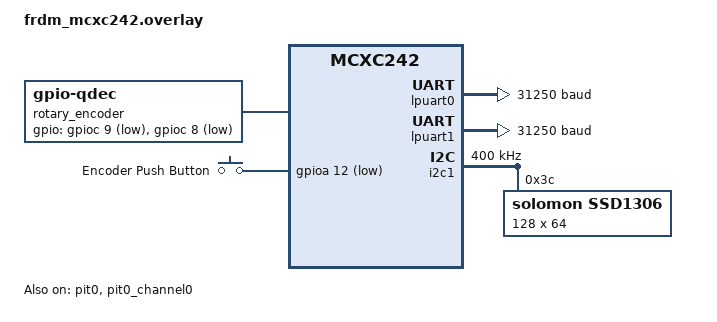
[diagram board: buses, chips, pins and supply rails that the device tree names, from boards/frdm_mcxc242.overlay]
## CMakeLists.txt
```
# SPDX-License-Identifier: Apache-2.0

cmake_minimum_required(VERSION 3.20.0)
find_package(Zephyr REQUIRED HINTS $ENV{ZEPHYR_BASE})
project(midi1_arp_phase_shift)

target_sources(app PRIVATE
    src/main.c
    src/arp.c
    src/tempo.c
    src/display_mgr.c
    src/encoder_mgr.c
)
```

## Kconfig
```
# SPDX-License-Identifier: Apache-2.0

menu "MIDI 1.0 ARP sample"

config MIDI1_ARP_NUMBER_OF_NOTES
    int "ARP number of NOTES to support"
    default 10
    range 1 32
    
config MIDI1_ARP_TIMING_INTERVAL
    int "TIMING_INTERVAL"
    default 6
    range 1 128
    
config MIDI1_ARP_TARGET_BPM
    int "Default ARP beats per minute (BPM) * 100 (i.e. 120 bpm is 12000)"
    default 10000
    range 1 60000

config MIDI1_ARP_DRIFT_CYCLE
    int "Number of MIDI clock ticks to drift" 
    default 8
    range 1 96

config MIDI1_ARP_TEMPO_MINIMUM 
    int "Minimum tempo using the ADC pot input default is 30.00 bpm (3000)" 
    default 3000 
    range 100 30000

config MIDI1_ARP_TEMPO_MAXIMUM 
    int "Maximum tempo using the ADC pot input default is 300.00 bpm (30000)" 
    default 30000 
    range 100 30000

endmenu

source "Kconfig.zephyr"
```

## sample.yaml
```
# SPDX-License-Identifier: Apache-2.0

sample:
  name: MIDI 1.0 Phasing Arpeggiator Demo
tests:
  sample.midi1_arp_phase_shift:
    platform_allow:
      - frdm_k64f
      - frdm_mcxc242
    harness: console
    harness_config:
      type: one_line
      regex:
        - "Arpeggiator running"
```

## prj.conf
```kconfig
# SPDX-License-Identifier: Apache-2.0

# MIDI 1.0 Arpeggiator Application
CONFIG_LOG=y
CONFIG_LOG_DEFAULT_LEVEL=1
CONFIG_BOOT_BANNER=y

# Driver support
CONFIG_SERIAL=y
CONFIG_UART_INTERRUPT_DRIVEN=y
CONFIG_MIDI1_SERIAL=y
CONFIG_MIDI1_CLOCK_CNTR=y
CONFIG_MIDI1_HARMONIC=y
CONFIG_COUNTER=y
CONFIG_INPUT=y
CONFIG_INPUT_GPIO_QDEC=y

# Require larger buffers for handling inputs and outputs concurrently
CONFIG_MIDI1_SERIAL_TX_BUF_SIZE=128

# Footprint settings
CONFIG_IDLE_STACK_SIZE=256
CONFIG_ISR_STACK_SIZE=1024
CONFIG_MAIN_STACK_SIZE=2048
CONFIG_SYSTEM_WORKQUEUE_STACK_SIZE=2048
```

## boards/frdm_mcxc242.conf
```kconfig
# SPDX-License-Identifier: Apache-2.0

# Display support for SSD1306 on MCXC242
CONFIG_I2C=y
CONFIG_DISPLAY=y
CONFIG_SSD1306=y
CONFIG_DISPLAY_LOG_LEVEL_OFF=y

# Enable Character Framebuffer (text rendering)
CONFIG_CHARACTER_FRAMEBUFFER=y
CONFIG_CHARACTER_FRAMEBUFFER_USE_DEFAULT_FONTS=y

# Memory pool for display allocation (fixes CFB k_malloc error)
CONFIG_HEAP_MEM_POOL_SIZE=1024

# --- Memory & Size Optimizations for MCXC242 (16KB RAM) ---
CONFIG_SIZE_OPTIMIZATIONS=y
CONFIG_SPI=n
CONFIG_PM=n
CONFIG_BOOT_BANNER=n

# Disable full logging and printk to save RAM buffers and flash
CONFIG_LOG=n
CONFIG_PRINTK=n

# Opt for minimal libc footprint
CONFIG_MINIMAL_LIBC=y

# Stack Size Reductions
CONFIG_ISR_STACK_SIZE=512
CONFIG_MAIN_STACK_SIZE=1024
CONFIG_SYSTEM_WORKQUEUE_STACK_SIZE=1024
```

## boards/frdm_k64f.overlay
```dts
/*
 * SPDX-License-Identifier: Apache-2.0
 */

/**
 * @file frdm_k64f.overlay
 * @brief Combined overlay for hybrid MIDI test on K64F
 */

#include <zephyr/dt-bindings/input/input-event-codes.h>
#include <zephyr/dt-bindings/gpio/arduino-header-r3.h>

/ {
	midi1: midi1 {
		status = "okay";
		compatible = "midi1_serial";
		uart = <&uart3>;
	};

	midi1_clock_cntr_0: midi1_clock_cntr_0 {
		compatible = "midi1_clock_cntr";
		counter = <&pit0_channel0>;
		midi1_serial = <&midi1>;
		status = "okay";
	};

	rotary_encoder: rotary-encoder {
		compatible = "gpio-qdec";
		gpios = <&arduino_header 12 (GPIO_ACTIVE_LOW | GPIO_PULL_UP)>, /* D6 */
			<&arduino_header 13 (GPIO_ACTIVE_LOW | GPIO_PULL_UP)>; /* D7 */
		steps-per-period = <4>;
		zephyr,axis = <INPUT_REL_WHEEL>;
		sample-time-us = <2000>;
		idle-timeout-ms = <200>;
		status = "okay";
	};

	encoder_button: encoder-button {
		compatible = "gpio-keys";
		button0: button_0 {
			gpios = <&arduino_header 8 (GPIO_ACTIVE_LOW | GPIO_PULL_UP)>; /* D2 */
			label = "Encoder Push Button";
			zephyr,code = <INPUT_KEY_2>;
                };

                button1: button_1 {
                        gpios = <&arduino_header 16 (GPIO_ACTIVE_LOW | GPIO_PULL_UP)>; /* D10 */
                        label = "BPM Shift Button";
                        zephyr,code = <INPUT_KEY_3>;		};
	};
};

&uart3 {
	status = "okay";
	current-speed = <31250>;
};

&pit0 {
	status = "okay";
};

&pit0_channel0 {
	status = "okay";
};
```

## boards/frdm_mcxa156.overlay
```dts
/*
 * SPDX-License-Identifier: Apache-2.0
 */

/**
 * @file frdm_mcxa156.overlay
 * @brief overlay for this board from 2024
 */

#include <zephyr/dt-bindings/input/input-event-codes.h>
#include <zephyr/dt-bindings/gpio/arduino-header-r3.h>

/*
 * Classic MIDI1.0 over DIN5 plug.
 * On the MCXA156 the mikroBUS socket J1 is on LPUART1
 */
&lpuart1 {
	status = "okay";
	/* Set it to the MIDI baud rate */
	current-speed = <31250>;
};

/* Enable two hardware CTIMERs for the clock generation and measurement */
&ctimer0 {
	status = "okay";
};

&ctimer1 {
	status = "okay";
};

/ {
	/* Existing UART mapping */
	midi1: midi1 {
		status = "okay";
		compatible = "midi1_serial";
		uart = <&lpuart1>;
	};

	/* 1. MIDI Clock Generator Instance */
	midi1_clock_cntr_0: midi1_clock_cntr_0 {
		compatible = "midi1_clock_cntr";
		counter = <&ctimer0>;      /* Assign CTIMER0 to generate clock */
		midi1_serial = <&midi1>;   /* Link it to the UART TX */
		status = "okay";
	};

	/* 2. MIDI Clock Measurement Instance */
	midi1_clock_meas_cntr_0: midi1_clock_meas_cntr_0 {
		compatible = "midi1_clock_meas_cntr";
		counter = <&ctimer1>;      /* Assign CTIMER1 to measure incoming clock */
		status = "okay";
	};

	rotary_encoder: rotary-encoder {
		compatible = "gpio-qdec";
		gpios = <&arduino_header 12 (GPIO_ACTIVE_LOW | GPIO_PULL_UP)>, /* D6 */
			<&arduino_header 13 (GPIO_ACTIVE_LOW | GPIO_PULL_UP)>; /* D7 */
		steps-per-period = <4>;
		zephyr,axis = <INPUT_REL_WHEEL>;
		sample-time-us = <2000>;
		idle-timeout-ms = <200>;
		status = "okay";
	};

	encoder_button: encoder-button {
		compatible = "gpio-keys";
		button0: button_0 {
			gpios = <&arduino_header 8 (GPIO_ACTIVE_LOW | GPIO_PULL_UP)>; /* D2 */
			label = "Encoder Push Button";
			zephyr,code = <INPUT_KEY_2>;
                };

                button1: button_1 {
                        gpios = <&arduino_header 16 (GPIO_ACTIVE_LOW | GPIO_PULL_UP)>; /* D10 */
                        label = "BPM Shift Button";
                        zephyr,code = <INPUT_KEY_3>;		};
	};
};
```

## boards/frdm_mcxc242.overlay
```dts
/*
 * SPDX-License-Identifier: Apache-2.0
 */

/**
 * @file frdm_mcxc242.overlay
 * @brief Combined overlay for hybrid MIDI test on MCXC242
 */

#include <zephyr/dt-bindings/input/input-event-codes.h>

/ {
	/* Arduino header */
	midi0: midi0 {
		status = "okay";
		compatible = "midi1_serial";
		uart = <&lpuart0>;
	};
	/* MIKRObus */
	midi1: midi1 {
		status = "okay";
		compatible = "midi1_serial";
		uart = <&lpuart1>;
	};
	/*
	 * I am using the serial port on the MIKRObus so it does not interfere
	 * with logging on the console.
	 */
	midi1_clock_cntr_0: midi1_clock_cntr_0 {
		compatible = "midi1_clock_cntr";
		counter = <&pit0_channel0>;
		midi1_serial = <&midi1>;
		status = "okay";
	};

	chosen {
		zephyr,display = &ssd1306;
	};

	rotary_encoder: rotary-encoder {
		compatible = "gpio-qdec";
		/* Phase A on D6 (PTC9) */
		gpios = <&gpioc 9 (GPIO_ACTIVE_LOW | GPIO_PULL_UP)>,
			/* Phase B on D7 (PTC8) */
			<&gpioc 8 (GPIO_ACTIVE_LOW | GPIO_PULL_UP)>;
		steps-per-period = <4>;
		zephyr,axis = <INPUT_REL_WHEEL>;
		sample-time-us = <2000>;
		idle-timeout-ms = <200>;
		status = "okay";
	};

	encoder_button: encoder-button {
		compatible = "gpio-keys";
		button0: button_0 {
			/* Push Button on D2 (PTA12) */
			gpios = <&gpioa 12 (GPIO_ACTIVE_LOW | GPIO_PULL_UP)>;
			label = "Encoder Push Button";
			zephyr,code = <INPUT_KEY_2>;
		};
	};
};

/* Arduino header */
&lpuart0 {
	status = "okay";
	current-speed = <31250>;
};

/* MIKRObus */
&lpuart1 {
	status = "okay";
	current-speed = <31250>;
};

/*
 * MIDI on a DIN5 plug is a current loop.
 * In my case I had to create a small driver PCB. Using a darlington in the
 * output and also using a opto-coupler for the input.
 */
&pinctrl {
	pinmux_lpuart0: pinmux_lpuart0 {
		group0 {
			/* Strongest drive + fast edges */
			drive-strength = "high";
			slew-rate = "fast";
		};
	};
	pinmux_lpuart1: pinmux_lpuart1 {
		group0 {
			/* Strongest drive + fast edges */
			drive-strength = "high";
			slew-rate = "fast";
		};
	};
};

&pit0 {
	status = "okay";
};

&pit0_channel0 {
	status = "okay";
};

/*
 * i2c0 does not work due to missing pin control.  i2c1 is the the Arduino
 * header
 */
&i2c1 {
	status = "okay";
	clock-frequency = <I2C_BITRATE_FAST>;

	ssd1306: ssd1306@3c {
		status = "okay";
		compatible = "solomon,ssd1306";
		reg = <0x3c>;
		label = "SSD1306";
		width = <128>;
		height = <64>;
		segment-offset = <0>;
		page-offset = <0>;
		display-offset = <0>;
		multiplex-ratio = <63>;
		/* Had to enable this to mirror the image */
		com-invdir;
		/* prechargep = <0x22>; */
		/* Used for the SH1106 */
		/* prechargep = <0x1F>; */
		/* Used for the SSD1306 */
		prechargep = <0xF1>;
		/* The next one was required to flip the image */
		segment-remap;
		inversion-on;
		/* Critical part on the SSD1306 don't make this too long */
		ready-time-ms = <100>;
	};
};
```

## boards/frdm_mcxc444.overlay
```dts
/*
 * SPDX-License-Identifier: Apache-2.0
 */

#include <zephyr/dt-bindings/input/input-event-codes.h>
#include <zephyr/dt-bindings/gpio/arduino-header-r3.h>

/ {
	midi1: midi1 {
		status = "okay";
		compatible = "midi1_serial";
		uart = <&lpuart0>;
	};

	midi1_clock_cntr_0: midi1_clock_cntr_0 {
		compatible = "midi1_clock_cntr";
		counter = <&pit0_channel0>;
		midi1_serial = <&midi1>;
		status = "okay";
	};

	rotary_encoder: rotary-encoder {
		compatible = "gpio-qdec";
		gpios = <&arduino_header 12 (GPIO_ACTIVE_LOW | GPIO_PULL_UP)>, /* D6 */
			<&arduino_header 13 (GPIO_ACTIVE_LOW | GPIO_PULL_UP)>; /* D7 */
		steps-per-period = <4>;
		zephyr,axis = <INPUT_REL_WHEEL>;
		sample-time-us = <2000>;
		idle-timeout-ms = <200>;
		status = "okay";
	};

	encoder_button: encoder-button {
		compatible = "gpio-keys";
		button0: button_0 {
			gpios = <&arduino_header 8 (GPIO_ACTIVE_LOW | GPIO_PULL_UP)>; /* D2 */
			label = "Encoder Push Button";
			zephyr,code = <INPUT_KEY_2>;
                };

                button1: button_1 {
                        gpios = <&arduino_header 16 (GPIO_ACTIVE_LOW | GPIO_PULL_UP)>; /* D10 */
                        label = "BPM Shift Button";
                        zephyr,code = <INPUT_KEY_3>;		};
	};
};

&lpuart0 {
	status = "okay";
	current-speed = <31250>;
};

&pit0 {
	status = "okay";
};

&pit0_channel0 {
	status = "okay";
};
```

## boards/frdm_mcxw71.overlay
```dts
/*
 * SPDX-License-Identifier: Apache-2.0
 */

#include <zephyr/dt-bindings/input/input-event-codes.h>
#include <zephyr/dt-bindings/gpio/arduino-header-r3.h>

/ {
	midi1: midi1 {
		status = "okay";
		compatible = "midi1_serial";
		uart = <&lpuart0>;
	};

	midi1_clock_cntr_0: midi1_clock_cntr_0 {
		compatible = "midi1_clock_cntr";
		counter = <&lptmr0>;
		midi1_serial = <&midi1>;
		status = "okay";
	};

	rotary_encoder: rotary-encoder {
		compatible = "gpio-qdec";
		gpios = <&arduino_header 12 (GPIO_ACTIVE_LOW | GPIO_PULL_UP)>, /* D6 */
			<&arduino_header 13 (GPIO_ACTIVE_LOW | GPIO_PULL_UP)>; /* D7 */
		steps-per-period = <4>;
		zephyr,axis = <INPUT_REL_WHEEL>;
		sample-time-us = <2000>;
		idle-timeout-ms = <200>;
		status = "okay";
	};

	encoder_button: encoder-button {
		compatible = "gpio-keys";
		button0: button_0 {
			gpios = <&arduino_header 8 (GPIO_ACTIVE_LOW | GPIO_PULL_UP)>; /* D2 */
			label = "Encoder Push Button";
			zephyr,code = <INPUT_KEY_2>;
                };

                button1: button_1 {
                        gpios = <&arduino_header 16 (GPIO_ACTIVE_LOW | GPIO_PULL_UP)>; /* D10 */
                        label = "BPM Shift Button";
                        zephyr,code = <INPUT_KEY_3>;		};
	};
};

&lpuart0 {
	status = "okay";
	current-speed = <31250>;
};

&lptmr0 {
	status = "okay";
};
```

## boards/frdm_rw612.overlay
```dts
/*
 * SPDX-License-Identifier: Apache-2.0
 */

#include <zephyr/dt-bindings/input/input-event-codes.h>
#include <zephyr/dt-bindings/gpio/arduino-header-r3.h>

/ {
	midi1: midi1 {
		status = "okay";
		compatible = "midi1_serial";
		uart = <&flexcomm3>;
	};

	midi1_clock_cntr_0: midi1_clock_cntr_0 {
		compatible = "midi1_clock_cntr";
		counter = <&ctimer0>;
		midi1_serial = <&midi1>;
		status = "okay";
	};

	rotary_encoder: rotary-encoder {
		compatible = "gpio-qdec";
		gpios = <&arduino_header 12 (GPIO_ACTIVE_LOW | GPIO_PULL_UP)>, /* D6 */
			<&arduino_header 13 (GPIO_ACTIVE_LOW | GPIO_PULL_UP)>; /* D7 */
		steps-per-period = <4>;
		zephyr,axis = <INPUT_REL_WHEEL>;
		sample-time-us = <2000>;
		idle-timeout-ms = <200>;
		status = "okay";
	};

	encoder_button: encoder-button {
		compatible = "gpio-keys";
		button0: button_0 {
			gpios = <&arduino_header 8 (GPIO_ACTIVE_LOW | GPIO_PULL_UP)>; /* D2 */
			label = "Encoder Push Button";
			zephyr,code = <INPUT_KEY_2>;
                };

                button1: button_1 {
                        gpios = <&arduino_header 16 (GPIO_ACTIVE_LOW | GPIO_PULL_UP)>; /* D10 */
                        label = "BPM Shift Button";
                        zephyr,code = <INPUT_KEY_3>;		};
	};
};

&flexcomm3 {
	status = "okay";
	current-speed = <31250>;
};

&ctimer0 {
	status = "okay";
};
```

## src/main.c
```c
/*
 * SPDX-License-Identifier: Apache-2.0
 */

/**
 * @file main.c
 * @brief MIDI 1.0 Phasing Arpeggiator Application
 *
 * @author Jan-Willem Smaal <usenet@gispen.org>
 */

#include <zephyr/kernel.h>
#include <stdlib.h>
#include <zephyr/device.h>
#include <zephyr/drivers/midi/midi1.h>
#include <zephyr/drivers/midi/midi1_serial.h>
#include <zephyr/drivers/midi/midi1_clock_cntr.h>
#include <zephyr/drivers/gpio.h>
#include <zephyr/input/input.h>
#include <zephyr/logging/log.h>
#include <zephyr/midi1/note.h>
#include "arp.h"
#include "tempo.h"
#include "display_mgr.h"
#include "encoder_mgr.h"

LOG_MODULE_REGISTER(midi1_arp_phase_app, LOG_LEVEL_INF);

#define TARGET_BPM    CONFIG_MIDI1_ARP_TARGET_BPM
#define MY_MIDI1_CHAN (CONFIG_MIDI1_SERIAL_CHANNEL - 1)
/* #define DRIFT_CYCLE 8 */
#define DRIFT_CYCLE   CONFIG_MIDI1_ARP_DRIFT_CYCLE

/* MIDI Clock standard is 24 Pulses Per Quarter Note (PPQN) */
#define MIDI_CLOCK_PPQN         24
/* Toggle the tempo LED every half-beat for a 50% duty cycle */
#define TEMPO_LED_TOGGLE_PULSES (MIDI_CLOCK_PPQN / 2)

/* Hardware Specifications */
static const struct gpio_dt_spec latch_led = GPIO_DT_SPEC_GET(DT_ALIAS(led0), gpios); /* Red */
static const struct gpio_dt_spec mode_led = GPIO_DT_SPEC_GET(DT_ALIAS(led1), gpios);  /* Green */
static const struct gpio_dt_spec tempo_led = GPIO_DT_SPEC_GET(DT_ALIAS(led2), gpios); /* Blue */

/* MIDI Devices */
static const struct device *midi_serial;
static const struct midi1_serial_api *mid;
static const struct device *midi_clock_dev;
static const struct midi1_clock_cntr_api *clk;

/* State & Synchronisation */
static struct arp_ctx arp;
static struct tempo_ctx tempo;
K_SEM_DEFINE(init_sem, 0, 1);

static struct k_work arp_step_work;
static struct k_work tempo_work;

/**
 * @brief Work handler for the tempo LED flash.
 */
void tempo_work_handler(struct k_work *work)
{
	static bool led_state = false;
	led_state = !led_state;
	gpio_pin_set_dt(&tempo_led, led_state);
}

/**
 * @brief Input Subsystem callback for UI LED feedback.
 */
static void ui_input_cb(struct input_event *evt, void *user_data)
{
	if (evt->type == INPUT_EV_KEY && evt->value) {
		switch (evt->code) {
		case INPUT_KEY_0: /* Latch */
			/* Update Red LED: ON when latch is active (active-low) */
			gpio_pin_set_dt(&latch_led, !arp.latch_enabled);
			break;
		case INPUT_KEY_1: /* Clear */
			/* Flash Green LED briefly to confirm clear */
			gpio_pin_set_dt(&mode_led, 1);
			k_sleep(K_MSEC(100));
			gpio_pin_set_dt(&mode_led, 0);
			break;
		default:
			break;
		}
	}
}

INPUT_CALLBACK_DEFINE(NULL, ui_input_cb, NULL);

/**
 * @brief Executes the MIDI note changes for an arpeggio step.
 */
void arp_step_handler(struct k_work *work)
{
	static bool was_running = false;
	struct arp_tick_result result;
	uint8_t current_base, current_high;
	bool is_running;

	/* Get the pitches that are currently sounding to turn them off */
	arp_get_current_pitches(&arp, &current_base, &current_high);

	/* Determine if we need to trigger new notes */
	result = arp_tick(&arp);

	if (result.base_triggered) {
		mid->note_off(midi_serial, MY_MIDI1_CHAN, current_base, 0);
		mid->note_on(midi_serial, MY_MIDI1_CHAN, result.base_pitch, result.velocity);
	}

	if (result.high_triggered) {
		mid->note_off(midi_serial, MY_MIDI1_CHAN, current_high, 0);
		mid->note_on(midi_serial, MY_MIDI1_CHAN, result.high_pitch, result.velocity);
	}

	is_running = arp_is_running(&arp);

	/* Global silence check (only trigger once when stopping) */
	if (!is_running && was_running) {
		if (current_base > 0) {
			mid->note_off(midi_serial, MY_MIDI1_CHAN, current_base, 0);
		}
		if (current_high > 0) {
			mid->note_off(midi_serial, MY_MIDI1_CHAN, current_high, 0);
		}
	}

	was_running = is_running;
}

/**
 * @brief MIDI Clock Callback (ISR Context).
 */
void clock_tick_callback(void)
{
	static int beat_pulses = 0;

	k_work_submit(&arp_step_work);

	if (++beat_pulses >= TEMPO_LED_TOGGLE_PULSES) {
		beat_pulses = 0;
		k_work_submit(&tempo_work);
	}
}

/**
 * @brief MIDI Note On Handler.
 */
void note_on_handler(uint8_t channel, uint8_t note, uint8_t velocity)
{
	arp_note_on(&arp, note, velocity);
}

/**
 * @brief MIDI Note Off Handler.
 */
void note_off_handler(uint8_t channel, uint8_t note, uint8_t velocity)
{
	arp_note_off(&arp, note);
}

/**
 * @brief MIDI Control Change Handler
 */
void control_change_handler(uint8_t channel, uint8_t controller, uint8_t value)
{
	switch (controller) {
	case CTL_MSB_MODWHEEL:
		break;
	case CTL_SUSTAIN:
		if (value == 0) {
			/* We want to use the Sus pedal as a toggle switch */
			break;
		}
		arp_set_latch(&arp, !arp.latch_enabled);
		/* Red LED is active-low: 0 = ON, 1 = OFF */
		gpio_pin_set_dt(&latch_led, !arp.latch_enabled);
		LOG_INF("Sustain Pedal Latch: %s", arp.latch_enabled ? "ON" : "OFF");
		break;
	default:
		break;
	}
}

/**
 * @brief Background thread for MIDI parsing.
 */
void midi_rx_thread(void)
{
	k_sem_take(&init_sem, K_FOREVER);

	struct midi1_serial_callbacks cb = {
		.note_on = note_on_handler,
		.note_off = note_off_handler,
		.control_change = control_change_handler,
	};
	mid->register_callbacks(midi_serial, &cb);

	while (1) {
		mid->receiveparser(midi_serial);
	}
}

K_THREAD_DEFINE(midi_rx_tid, 512, midi_rx_thread, NULL, NULL, NULL, 5, 0, 0);

int main(void)
{
	int err;

	/* 1. Hardware Setup */
	if (!gpio_is_ready_dt(&latch_led) || !gpio_is_ready_dt(&tempo_led) ||
	    !gpio_is_ready_dt(&mode_led)) {
		return -ENODEV;
	}

	gpio_pin_configure_dt(&latch_led, GPIO_OUTPUT_ACTIVE); /* High = OFF */
	gpio_pin_configure_dt(&tempo_led, GPIO_OUTPUT_INACTIVE);
	gpio_pin_configure_dt(&mode_led, GPIO_OUTPUT_INACTIVE);

	midi_serial = DEVICE_DT_GET(DT_NODELABEL(midi1));
	midi_clock_dev = DEVICE_DT_GET_ANY(midi1_clock_cntr);
	if (!device_is_ready(midi_serial) || !device_is_ready(midi_clock_dev)) {
		return -ENODEV;
	}
	mid = midi_serial->api;
	clk = midi_clock_dev->api;

	/* 2. Logic Initialization */
	arp_init(&arp, CONFIG_MIDI1_ARP_TIMING_INTERVAL, DRIFT_CYCLE);

	/* Initialize Encoder */
	err = encoder_mgr_init(&arp, &tempo);
	if (err < 0) {
		LOG_ERR("Failed to initialize encoder manager: %d", err);
		/* Non-fatal error */
	}

	/* Initialize Tempo module (Digital) */
	err = tempo_init(&tempo, midi_clock_dev);
	if (err < 0) {
		return err;
	}

	k_work_init(&arp_step_work, arp_step_handler);
	k_work_init(&tempo_work, tempo_work_handler);

	/* Display Setup (Modular) */
	display_mgr_init(&arp, &tempo);

	k_sem_give(&init_sem);

	LOG_INF("Phasing Arpeggiator (Modular) Started.");

	clk->register_callback(midi_clock_dev, clock_tick_callback);
	/* Initial clock start */
	clk->gen(midi_clock_dev, TARGET_BPM);

	while (1) {
		k_mutex_lock(&arp.lock, K_FOREVER);

		if (arp.num_notes > 0) {
			char chord_buf[128] = {0};
			char base_str[8], high_str[8], now_base[8], now_high[8];
			int pos = 0;

			snprintf(now_base, sizeof(now_base), "%s",
				 harm_note_to_text_with_octave(arp.base.playing_pitch, false));
			snprintf(now_high, sizeof(now_high), "%s",
				 harm_note_to_text_with_octave(arp.high.playing_pitch, false));

			for (int i = 0; i < arp.num_notes; i++) {
				uint8_t h = (arp.notes[i].pitch + 12 <= 127)
						    ? arp.notes[i].pitch + 12
						    : 127;

				snprintf(base_str, sizeof(base_str), "%s",
					 harm_note_to_text_with_octave(arp.notes[i].pitch, false));
				snprintf(high_str, sizeof(high_str), "%s",
					 harm_note_to_text_with_octave(h, false));

				pos += snprintf(chord_buf + pos, sizeof(chord_buf) - pos,
						"[%s->%s] ", base_str, high_str);

				if (pos >= sizeof(chord_buf) - 1) {
					break;
				}
			}

			const char *m_str = "SYNC";
			if (arp.mode == ARP_MODE_PHASE) {
				m_str = "PHASE";
			} else if (arp.mode == ARP_MODE_PROCESS) {
				m_str = "PROCESS";
			} else if (arp.mode == ARP_MODE_PHASE_PROCESS) {
				m_str = "PH+PROC";
			}

			LOG_INF("ARP [%s] MODE [%s] | %d:%d | Now: %s/%s",
				arp.latch_enabled ? "ON" : "OFF", m_str, arp.process_offset,
				arp.process_len, now_base, now_high);
			LOG_INF("Chord: %s", chord_buf);
		}

		k_mutex_unlock(&arp.lock);
		k_sleep(K_SECONDS(2));
	}

	return 0;
}
```

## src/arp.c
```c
/*
 * SPDX-License-Identifier: Apache-2.0
 */

/**
 * @file arp.c
 * @brief Arpeggiator logic implementation.
 *
 * @author Jan-Willem Smaal <usenet@gispen.org>
 */

#include "arp.h"

void arp_init(struct arp_ctx *ctx, int interval, int drift_cycle)
{
	ctx->num_notes = 0;
	ctx->physical_keys_count = 0;
	ctx->arp_running = false;
	ctx->latch_enabled = false;

	ctx->base.index = 0;
	ctx->base.clock_counter = 0;
	ctx->base.playing_pitch = 0;
	ctx->base.length_offset = 0;

	ctx->high.index = 0;
	ctx->high.clock_counter = 0;
	ctx->high.playing_pitch = 0;
	ctx->high.length_offset = 0;
	ctx->high.drift_trigger_count = 0;
	ctx->high.lag_pending = false;

	ctx->timing_interval = interval;
	ctx->drift_cycle = drift_cycle;
	ctx->mode = ARP_MODE_SYNC;

	ctx->process_len = 1;
	ctx->process_offset = 0;
	ctx->process_building = true;

	k_mutex_init(&ctx->lock);
}

void arp_note_on(struct arp_ctx *ctx, uint8_t pitch, uint8_t velocity)
{
	k_mutex_lock(&ctx->lock, K_FOREVER);

	/* If this is the start of a new chord, clear old latched notes */
	if (ctx->latch_enabled && ctx->physical_keys_count == 0) {
		ctx->num_notes = 0;
		/* Reset phasing state on new chord */
		ctx->base.clock_counter = 0;
		ctx->high.clock_counter = 0;
		ctx->high.drift_trigger_count = 0;
		ctx->high.lag_pending = false;

		/* Reset process state */
		ctx->process_len = 1;
		ctx->process_offset = 0;
		ctx->process_building = true;
		ctx->base.index = -1; /* Will increment to 0 on first tick */
		ctx->high.index = 1;  /* Will decrement to 0 on first tick */
	}

	ctx->physical_keys_count++;

	if (ctx->num_notes < ARP_MAX_NOTES) {
		ctx->notes[ctx->num_notes].pitch = pitch;
		ctx->notes[ctx->num_notes].velocity = velocity;
		ctx->num_notes++;
	}

	k_mutex_unlock(&ctx->lock);
}

void arp_note_off(struct arp_ctx *ctx, uint8_t pitch)
{
	k_mutex_lock(&ctx->lock, K_FOREVER);

	if (ctx->physical_keys_count > 0) {
		ctx->physical_keys_count--;
	}

	for (int i = 0; i < ctx->num_notes; i++) {
		if (ctx->notes[i].pitch == pitch) {
			if (!ctx->latch_enabled) {
				/* Remove note and shift buffer */
				for (int j = i; j < ctx->num_notes - 1; j++) {
					ctx->notes[j] = ctx->notes[j + 1];
				}
				ctx->num_notes--;
			}
			break;
		}
	}

	k_mutex_unlock(&ctx->lock);
}

void arp_set_latch(struct arp_ctx *ctx, bool enabled)
{
	k_mutex_lock(&ctx->lock, K_FOREVER);
	ctx->latch_enabled = enabled;
	if (!ctx->latch_enabled && ctx->physical_keys_count == 0) {
		ctx->num_notes = 0;
	}
	k_mutex_unlock(&ctx->lock);
}

void arp_set_mode(struct arp_ctx *ctx, enum arp_mode mode)
{
	k_mutex_lock(&ctx->lock, K_FOREVER);
	enum arp_mode old_mode = ctx->mode;
	ctx->mode = mode;

	/* If disabling phasing, snap back */
	bool old_phasing = (old_mode == ARP_MODE_PHASE || old_mode == ARP_MODE_PHASE_PROCESS);
	bool new_phasing = (mode == ARP_MODE_PHASE || mode == ARP_MODE_PHASE_PROCESS);

	if (old_phasing && !new_phasing) {
		ctx->high.drift_trigger_count = 0;
		ctx->high.lag_pending = false;
		ctx->high.clock_counter = ctx->base.clock_counter;
	}

	/* Reset process state if entering/leaving process mode */
	bool old_process = (old_mode == ARP_MODE_PROCESS || old_mode == ARP_MODE_PHASE_PROCESS);
	bool new_process = (mode == ARP_MODE_PROCESS || mode == ARP_MODE_PHASE_PROCESS);

	if (old_process != new_process) {
		ctx->process_len = 1;
		ctx->process_offset = 0;
		ctx->process_building = true;
		if (ctx->num_notes > 0) {
			ctx->base.index = -1;
			ctx->high.index = 1;
		}
	}

	k_mutex_unlock(&ctx->lock);
}

/**
 * @brief Logic to advance the process window.
 */
static void advance_process_window(struct arp_ctx *ctx)
{
	if (ctx->process_building) {
		if (ctx->process_len < ctx->num_notes) {
			ctx->process_len++;
		} else {
			/* Start tearing down */
			ctx->process_building = false;
			ctx->process_offset++;
			ctx->process_len--;
		}
	} else {
		if (ctx->process_len > 1) {
			ctx->process_offset++;
			ctx->process_len--;
		} else {
			/* Reset to build */
			ctx->process_building = true;
			ctx->process_offset = 0;
			ctx->process_len = 1;
		}
	}
}

struct arp_tick_result arp_tick(struct arp_ctx *ctx)
{
	struct arp_tick_result result = {0};
	bool is_process = (ctx->mode == ARP_MODE_PROCESS || ctx->mode == ARP_MODE_PHASE_PROCESS);
	bool is_phasing = (ctx->mode == ARP_MODE_PHASE || ctx->mode == ARP_MODE_PHASE_PROCESS);

	k_mutex_lock(&ctx->lock, K_FOREVER);

	if (ctx->num_notes == 0) {
		ctx->arp_running = false;
		k_mutex_unlock(&ctx->lock);
		return result;
	}

	ctx->base.clock_counter++;
	ctx->high.clock_counter++;

	/* 1. Process Base Layer */
	if (ctx->base.clock_counter >= ctx->timing_interval) {
		ctx->base.clock_counter = 0;

		/* Index arithmetic based on mode */
		if (is_process) {
			ctx->base.index++;
			if (ctx->base.index >= (ctx->process_offset + ctx->process_len)) {
				/* Full traversal of window complete */
				advance_process_window(ctx);
				ctx->base.index = ctx->process_offset;
			}
			/* Bound safety */
			if (ctx->base.index < ctx->process_offset) {
				ctx->base.index = ctx->process_offset;
			}
		} else {
			if (++ctx->base.index >= ctx->num_notes) {
				ctx->base.index = 0;
			}
		}

		ctx->base.playing_pitch = ctx->notes[ctx->base.index].pitch;
		result.base_pitch = ctx->base.playing_pitch;
		result.velocity = ctx->notes[ctx->base.index].velocity;
		result.base_triggered = true;
		ctx->arp_running = true;
	}

	/* 2. Process High Layer */
	int high_interval = ctx->timing_interval;
	if (is_phasing && ctx->high.lag_pending) {
		high_interval += 1;
	}

	if (ctx->high.clock_counter >= high_interval) {
		ctx->high.clock_counter = 0;
		ctx->high.lag_pending = false;

		/* Calculate effective polymetric length */
		int effective_length = ctx->num_notes + ctx->high.length_offset;
		if (effective_length < 1) effective_length = 1;
		if (effective_length > ctx->num_notes) effective_length = ctx->num_notes;

		if (is_process) {
			/* High layer mirrored reverse window traversal */
			ctx->high.index--;
			/* Use effective length for process boundaries */
			int high_start = effective_length - 1 - ctx->process_offset;

			/* Prevent underflow if offset exceeds effective length */
			if (high_start < 0) {
				high_start = 0;
			}

			int high_end = high_start - ctx->process_len + 1;
			if (high_end < 0) {
				high_end = 0;
			}

			if (ctx->high.index < high_end) {
				ctx->high.index = high_start;
			}
			/* Bound safety */
			if (ctx->high.index > high_start) {
				ctx->high.index = high_start;
			}
		} else {
			if (--ctx->high.index < 0) {
				ctx->high.index = effective_length - 1;
			}
			/* Catch bounds if offset changes dynamically */
			if (ctx->high.index >= effective_length) {
				ctx->high.index = effective_length - 1;
			}
		}

		int pitch_calc = ctx->notes[ctx->high.index].pitch + 12;
		if (pitch_calc > 127) {
			ctx->high.playing_pitch = 127;
		} else {
			ctx->high.playing_pitch = (uint8_t)pitch_calc;
		}
		result.high_pitch = ctx->high.playing_pitch;

		/*
		 * If base wasn't triggered, use high layer's velocity.
		 * If both triggered, base velocity usually takes priority
		 * or we just use the last calculated.
		 */
		if (!result.base_triggered) {
			result.velocity = ctx->notes[ctx->high.index].velocity;
		}

		result.high_triggered = true;

		if (is_phasing) {
			if (++ctx->high.drift_trigger_count >= ctx->drift_cycle) {
				ctx->high.drift_trigger_count = 0;
				ctx->high.lag_pending = true;
			}
		}
	}

	k_mutex_unlock(&ctx->lock);
	return result;
}

void arp_get_current_pitches(struct arp_ctx *ctx, uint8_t *out_base, uint8_t *out_high)
{
	k_mutex_lock(&ctx->lock, K_FOREVER);
	*out_base = ctx->base.playing_pitch;
	*out_high = ctx->high.playing_pitch;
	k_mutex_unlock(&ctx->lock);
}

bool arp_is_running(struct arp_ctx *ctx)
{
	return ctx->arp_running;
}

void arp_reset(struct arp_ctx *ctx)
{
	k_mutex_lock(&ctx->lock, K_FOREVER);
	ctx->base.index = 0;
	ctx->base.clock_counter = 0;
	ctx->base.playing_pitch = 0;

	ctx->high.index = 0;
	ctx->high.clock_counter = 0;
	ctx->high.playing_pitch = 0;
	ctx->high.drift_trigger_count = 0;
	ctx->high.lag_pending = false;

	ctx->process_len = 1;
	ctx->process_offset = 0;
	ctx->process_building = true;
	k_mutex_unlock(&ctx->lock);
}

void arp_clear(struct arp_ctx *ctx)
{
	k_mutex_lock(&ctx->lock, K_FOREVER);
	ctx->num_notes = 0;
	ctx->physical_keys_count = 0;
	ctx->arp_running = false;
	k_mutex_unlock(&ctx->lock);
	arp_reset(ctx);
}

int arp_get_num_notes(struct arp_ctx *ctx)
{
	return ctx->num_notes;
}
```

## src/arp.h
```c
/*
 * SPDX-License-Identifier: Apache-2.0
 */

#ifndef ARP_H_
#define ARP_H_

#include <stdint.h>
#include <stdbool.h>
#include <zephyr/kernel.h>

/**
 * @file arp.h
 * @brief Modular Arpeggiator Logic for Phasing and Process-based Counter-point
 *
 * @author Jan-Willem Smaal <usenet@gispen.org>
 */

#define ARP_MAX_NOTES 16

/**
 * @brief Arpeggiator operating modes.
 */
enum arp_mode {
	ARP_MODE_SYNC = 0,          /* Fixed sequence, synchronized layers */
	ARP_MODE_PHASE = 1,         /* Fixed sequence, drifting layers */
	ARP_MODE_PROCESS = 2,       /* Evolving sequence, synchronized layers */
	ARP_MODE_PHASE_PROCESS = 3, /* Evolving sequence, drifting layers */
	ARP_MODE_MAX = 4
};

struct arp_note {
	uint8_t pitch;
	uint8_t velocity;
};

struct arp_layer {
	uint8_t playing_pitch;
	int index;
	int clock_counter;
	int drift_trigger_count;
	bool lag_pending;
	int length_offset;
};

struct arp_ctx {
	struct arp_note notes[ARP_MAX_NOTES];
	int num_notes;

	struct arp_layer base;
	struct arp_layer high;

	/* Process mode state (Additive/Subtractive) */
	int process_len;       /* Current window size */
	int process_offset;    /* Current window start index */
	bool process_building; /* true = adding notes, false = removing from start */

	int physical_keys_count;

	bool latch_enabled;
	enum arp_mode mode;
	bool arp_running;

	int timing_interval;
	int drift_cycle;

	struct k_mutex lock;
};

/**
 * @brief Result of an arpeggiator clock tick.
 */
struct arp_tick_result {
	bool base_triggered;
	bool high_triggered;
	uint8_t base_pitch;
	uint8_t high_pitch;
	uint8_t velocity;
};

/**
 * @brief Initialize the arpeggiator context.
 */
void arp_init(struct arp_ctx *ctx, int interval, int drift_cycle);

/**
 * @brief Handle a MIDI Note On event.
 */
void arp_note_on(struct arp_ctx *ctx, uint8_t pitch, uint8_t velocity);

/**
 * @brief Handle a MIDI Note Off event.
 */
void arp_note_off(struct arp_ctx *ctx, uint8_t pitch);

/**
 * @brief Set the latch mode state.
 */
void arp_set_latch(struct arp_ctx *ctx, bool enabled);

/**
 * @brief Set the arpeggiator mode.
 */
void arp_set_mode(struct arp_ctx *ctx, enum arp_mode mode);

/**
 * @brief Process a clock tick and determine if notes should trigger.
 */
struct arp_tick_result arp_tick(struct arp_ctx *ctx);

/**
 * @brief Get the currently sounding pitches to perform Note Off.
 */
void arp_get_current_pitches(struct arp_ctx *ctx, uint8_t *out_base, uint8_t *out_high);

/**
 * @brief Check if the arpeggiator is currently active.
 */
bool arp_is_running(struct arp_ctx *ctx);

/**
 * @brief Get the number of notes currently held in the buffer.
 */
int arp_get_num_notes(struct arp_ctx *ctx);

/**
 * @brief Reset the arpeggiator state (counters, windows) but keep the notes.
 */
void arp_reset(struct arp_ctx *ctx);

/**
 * @brief Clear all notes and reset the arpeggiator.
 */
void arp_clear(struct arp_ctx *ctx);

#endif /* ARP_H_ */
```

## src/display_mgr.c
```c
/*
 * SPDX-License-Identifier: Apache-2.0
 */

/**
 * @file display_mgr.c
 * @brief Modular Display Manager implementation.
 *
 * @author Jan-Willem Smaal <usenet@gispen.org>
 */

#include <zephyr/kernel.h>
#include <zephyr/device.h>
#include <zephyr/drivers/display.h>
#include <zephyr/display/cfb.h>
#include <zephyr/logging/log.h>
#include <stdio.h>

#include "display_mgr.h"
#include <zephyr/midi1/note.h>
#include "encoder_mgr.h"

LOG_MODULE_REGISTER(display_mgr, LOG_LEVEL_WRN);

/* Stack for the background display thread */
K_THREAD_STACK_DEFINE(display_stack, 1024);
static struct k_thread display_thread_data;

static struct arp_ctx *g_arp;
static struct tempo_ctx *g_tempo;
static const struct device *display_dev;

/**
 * @brief Background thread for display updates.
 */
void display_thread(void *p1, void *p2, void *p3)
{
	ARG_UNUSED(p1);
	ARG_UNUSED(p2);
	ARG_UNUSED(p3);

	static struct {
		enum arp_mode mode;
		bool latch;
		int32_t bpm;
		uint8_t base_pitch;
		uint8_t high_pitch;
		int num_notes;
		int poly_offset;
		int drift_cycle;
		enum encoder_param param;
		bool shifted;
		enum arp_mode pending_mode;
	} last_state = {.mode = 255};

	char line1[32], line2[32], line3[32], line4[32];
	uint8_t font_height;

	if (display_dev == NULL || !device_is_ready(display_dev)) {
		return;
	}

	cfb_get_font_size(display_dev, 0, NULL, &font_height);

	while (1) {
		bool changed = false;
		enum encoder_param current_p = encoder_mgr_get_current_param();
		bool current_s = encoder_mgr_is_shift_active();

		enum arp_mode current_m = encoder_mgr_get_pending_mode();

		/* --- Step 1: Rapid Snapshot --- */
		k_mutex_lock(&g_arp->lock, K_FOREVER);

		if (g_arp->mode != last_state.mode || g_arp->latch_enabled != last_state.latch ||
		    g_tempo->current_bpm != last_state.bpm ||
		    g_arp->base.playing_pitch != last_state.base_pitch ||
		    g_arp->high.playing_pitch != last_state.high_pitch ||
		    g_arp->num_notes != last_state.num_notes ||
		    g_arp->high.length_offset != last_state.poly_offset ||
		    g_arp->drift_cycle != last_state.drift_cycle || current_p != last_state.param ||
		    current_s != last_state.shifted || current_m != last_state.pending_mode) {

			/* Copy state into local snapshot */
			last_state.mode = g_arp->mode;
			last_state.latch = g_arp->latch_enabled;
			last_state.bpm = g_tempo->current_bpm;
			last_state.base_pitch = g_arp->base.playing_pitch;
			last_state.high_pitch = g_arp->high.playing_pitch;
			last_state.num_notes = g_arp->num_notes;
			last_state.poly_offset = g_arp->high.length_offset;
			last_state.drift_cycle = g_arp->drift_cycle;
			last_state.param = current_p;
			last_state.shifted = current_s;
			last_state.pending_mode = current_m;
			changed = true;
		}

		k_mutex_unlock(&g_arp->lock);

		/* --- Step 2: Render if changed --- */
		if (changed) {
			const char *m_str = "SYNC";
			enum arp_mode disp_m = (last_state.param == ENCODER_PARAM_MODE)
						       ? last_state.pending_mode
						       : last_state.mode;

			if (disp_m == ARP_MODE_PHASE) {
				m_str = "PHASE";
			} else if (disp_m == ARP_MODE_PROCESS) {
				m_str = "PROC";
			} else if (disp_m == ARP_MODE_PHASE_PROCESS) {
				m_str = "PH+PR";
			}

			/* Show '?' if the displayed mode is different from active mode */
			char confirm_char = (last_state.param == ENCODER_PARAM_MODE &&
					     last_state.pending_mode != last_state.mode)
						    ? '?'
						    : ' ';

			snprintf(line1, sizeof(line1), "%c%-7s%c %s",
				 (last_state.param == ENCODER_PARAM_MODE ? '*' : ' '), m_str,
				 confirm_char, last_state.latch ? "LATCH" : "     ");

			/* Label changes from BPM to bpm when shifted (Fine mode) */
			snprintf(line2, sizeof(line2), "%c%s: %d.%02d  %s",
				 (last_state.param == ENCODER_PARAM_BPM ? '*' : ' '),
				 (last_state.shifted ? "bpm" : "BPM"), last_state.bpm / 100,
				 last_state.bpm % 100, (last_state.shifted ? "SHIFT" : "     "));

			snprintf(line3, sizeof(line3), "%cDrift: %d",
				 (last_state.param == ENCODER_PARAM_DRIFT ? '*' : ' '),
				 last_state.drift_cycle);

			/* Line 4: Share space between Notes and Poly Offset */
			snprintf(line4, sizeof(line4), "%cPoly: %2d  (N:%d)",
				 (last_state.param == ENCODER_PARAM_POLY_OFFSET ? '*' : ' '),
				 last_state.poly_offset, last_state.num_notes);

			/* Perform I2C transfer outside of mutex lock */
			cfb_framebuffer_clear(display_dev, false);
			cfb_print(display_dev, line1, 0, 0);
			cfb_print(display_dev, line2, 0, font_height);
			cfb_print(display_dev, line3, 0, font_height * 2);
			cfb_print(display_dev, line4, 0, font_height * 3);
			cfb_framebuffer_finalize(display_dev);
		}

		/* Poll every 100ms */
		k_msleep(100);
	}
}

int display_mgr_init(struct arp_ctx *arp, struct tempo_ctx *tempo)
{
	g_arp = arp;
	g_tempo = tempo;
	display_dev = DEVICE_DT_GET_OR_NULL(DT_CHOSEN(zephyr_display));

	if (display_dev != NULL && device_is_ready(display_dev)) {
		if (cfb_framebuffer_init(display_dev)) {
			LOG_ERR("Framebuffer initialization failed!");
			return -ENODEV;
		}

		cfb_framebuffer_clear(display_dev, true);
		cfb_print(display_dev, "Arp Modular", 0, 0);
		cfb_framebuffer_finalize(display_dev);

		/* Start background thread with lowest priority */
		k_thread_create(&display_thread_data, display_stack,
				K_THREAD_STACK_SIZEOF(display_stack), display_thread, NULL, NULL,
				NULL, K_LOWEST_APPLICATION_THREAD_PRIO, 0, K_NO_WAIT);
		k_thread_name_set(&display_thread_data, "display_mgr");
	}

	return 0;
}
```

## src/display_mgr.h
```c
/*
 * SPDX-License-Identifier: Apache-2.0
 */

#ifndef DISPLAY_MGR_H_
#define DISPLAY_MGR_H_

#include "arp.h"
#include "tempo.h"

/**
 * @file display_mgr.h
 * @brief Modular Display Manager for Arpeggiator Visualization.
 *
 * @author Jan-Willem Smaal <usenet@gispen.org>
 */

/**
 * @brief Initialize the display manager and start the background update thread.
 *
 * @param arp The arpeggiator context to monitor.
 * @param tempo The tempo context to monitor.
 * @return 0 on success, negative errno on failure.
 */
int display_mgr_init(struct arp_ctx *arp, struct tempo_ctx *tempo);

#endif /* DISPLAY_MGR_H_ */
```

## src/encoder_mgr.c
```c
/*
 * SPDX-License-Identifier: Apache-2.0
 */

/**
 * @file encoder_mgr.c
 * @brief Unified Input Manager with SHIFT and Pending Mode confirmation.
 *
 * @author Jan-Willem Smaal <usenet@gispen.org>
 */

#include <zephyr/kernel.h>
#include <zephyr/device.h>
#include <zephyr/input/input.h>
#include <zephyr/logging/log.h>
#include "encoder_mgr.h"

LOG_MODULE_REGISTER(encoder_mgr, LOG_LEVEL_INF);

static struct arp_ctx *g_arp;
static struct tempo_ctx *g_tempo;
static enum encoder_param current_param = ENCODER_PARAM_DRIFT;
static enum arp_mode pending_mode = ARP_MODE_SYNC;
static bool shift_active = false;

static void input_cb(struct input_event *evt, void *user_data)
{
	ARG_UNUSED(user_data);

	if (evt->type == INPUT_EV_REL && evt->code == INPUT_REL_WHEEL) {
		int delta = evt->value;
		if (delta == 0) {
			return;
		}

		k_mutex_lock(&g_arp->lock, K_FOREVER);

		switch (current_param) {
		case ENCODER_PARAM_DRIFT: {
			int new_drift = g_arp->drift_cycle + delta;
			if (new_drift < 1) {
				new_drift = 1;
			}
			if (new_drift > 96) {
				new_drift = 96;
			}
			g_arp->drift_cycle = new_drift;
			LOG_INF("Encoder: Drift Cycle set to %d", g_arp->drift_cycle);
			break;
		}
		case ENCODER_PARAM_MODE: {
			/* Scroll through modes without applying yet */
			int new_m = (int)pending_mode + delta;
			if (new_m < 0) {
				new_m = (int)ARP_MODE_MAX - 1;
			}
			if (new_m >= (int)ARP_MODE_MAX) {
				new_m = 0;
			}
			pending_mode = (enum arp_mode)new_m;
			LOG_INF("Encoder: Mode selection: %d (Pending)", pending_mode);
			break;
		}
		case ENCODER_PARAM_BPM: {
			/* SHIFT now controlled by INPUT_KEY_3 */
			int32_t step = shift_active ? 1 : 100;
			int32_t new_bpm = g_tempo->current_bpm + (delta * step);
			tempo_set_bpm(g_tempo, new_bpm);
			break;
		}
		case ENCODER_PARAM_POLY_OFFSET: {
			/* Restrict offset between -3 and 0 for safety */
			int new_offset = g_arp->high.length_offset + delta;
			if (new_offset < -3) new_offset = -3;
			if (new_offset > 0) new_offset = 0;

			g_arp->high.length_offset = new_offset;
			LOG_INF("Encoder: Poly Offset set to %d", g_arp->high.length_offset);
			break;
		}
		default:
			break;
		}

		k_mutex_unlock(&g_arp->lock);
	} else if (evt->type == INPUT_EV_KEY) {
		/* Track SHIFT state (D3 / INPUT_KEY_3) */
		if (evt->code == INPUT_KEY_3) {
			shift_active = evt->value;
			LOG_INF("SHIFT: %s", shift_active ? "ON" : "OFF");
		}

		/* Process other keys on 'Press' only */
		if (evt->value) {
			switch (evt->code) {
			case INPUT_KEY_0: /* SW2: Latch toggle only */
				arp_set_latch(g_arp, !g_arp->latch_enabled);
				LOG_INF("Latch Mode: %s", g_arp->latch_enabled ? "ON" : "OFF");
				break;
			case INPUT_KEY_1: /* SW3: Clear Arp */
				arp_clear(g_arp);
				LOG_INF("Arpeggiator Cleared");
				break;
			case INPUT_KEY_2: /* Encoder Button: Cycle focus & Apply Mode */
				if (current_param == ENCODER_PARAM_MODE) {
					arp_set_mode(g_arp, pending_mode);
					LOG_INF("Encoder: Mode Applied: %d", g_arp->mode);
				}

				current_param = (current_param + 1) % ENCODER_PARAM_MAX;

				if (current_param == ENCODER_PARAM_MODE) {
					pending_mode = g_arp->mode;
				}
				LOG_INF("Encoder Focus: %d", current_param);
				break;
			default:
				break;
			}
		}
	}
}

INPUT_CALLBACK_DEFINE(NULL, input_cb, NULL);

int encoder_mgr_init(struct arp_ctx *arp, struct tempo_ctx *tempo)
{
	g_arp = arp;
	g_tempo = tempo;
	pending_mode = g_arp->mode;
	return 0;
}

enum encoder_param encoder_mgr_get_current_param(void)
{
	return current_param;
}

enum arp_mode encoder_mgr_get_pending_mode(void)
{
	return pending_mode;
}

bool encoder_mgr_is_shift_active(void)
{
	return shift_active;
}
```

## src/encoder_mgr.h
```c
/*
 * SPDX-License-Identifier: Apache-2.0
 */

/**
 * @file encoder_mgr.h
 * @brief Rotary Encoder Manager for Arpeggiator Parameter Control.
 *
 * @author Jan-Willem Smaal <usenet@gispen.org>
 */

#ifndef ENCODER_MGR_H_
#define ENCODER_MGR_H_

#include "arp.h"
#include "tempo.h"

/**
 * @brief Parameters that can be controlled by the rotary encoder.
 */
enum encoder_param {
	ENCODER_PARAM_MODE = 0,  /* Arpeggiator Mode */
	ENCODER_PARAM_BPM = 1,   /* BPM Adjustment */
	ENCODER_PARAM_DRIFT = 2, /* Phase Drift Cycle */
	ENCODER_PARAM_POLY_OFFSET = 3, /* Polymetric Length Offset */
	ENCODER_PARAM_MAX = 4
};

/**
 * @brief Initialize the rotary encoder manager.
 *
 * @param arp Arpeggiator context to control.
 * @param tempo Tempo context to control.
 * @return 0 on success, negative error code on failure.
 */
int encoder_mgr_init(struct arp_ctx *arp, struct tempo_ctx *tempo);

/**
 * @brief Get the currently selected parameter for the encoder.
 */
enum encoder_param encoder_mgr_get_current_param(void);

/**
 * @brief Get the 'pending' mode that is selected but not yet applied.
 */
enum arp_mode encoder_mgr_get_pending_mode(void);

/**
 * @brief Check if the 'Shift' button (SW2) is currently held down.
 */
bool encoder_mgr_is_shift_active(void);

#endif /* ENCODER_MGR_H_ */
```

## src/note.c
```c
/*
 * SPDX-License-Identifier: Apache-2.0
 */

/**
 * @file note.c
 *
 * @brief Generic MIDI and harmony related functions
 * implemented in support of embedded systems in c.
 * tested on Zephyr RTOS.
 *
 * @author Jan-Willem Smaal <usenet@gispen.org>
 * @updated 20241224
 */
#include "note.h"

/*
 * Return the note with the octave included.
 * not thread safe.
 */
const char *noteToTextWithOctave(uint8_t midinote, bool flats)
{
	static char notestring[5];
	snprintf(notestring, sizeof(notestring), "%s%d", noteToText(midinote, flats),
		 noteToOct(midinote));
	return &notestring[0];
}

/* This function converts a MIDI note using a lookup table to a string */
const char *noteToText(uint8_t midinote, bool flats)
{
	int octave = noteToOct(midinote);
	uint8_t note = midinote - ((octave + 2) * 12);
	static const char *flatNotes[] = {"C ", "Db", "D ", "Eb", "E ", "F ",
					  "Gb", "G ", "Ab", "A ", "Bb", "B "};
	static const char *sharpNotes[] = {"C ", "C#", "D ", "D#", "E ", "F ",
					   "F#", "G ", "G#", "A ", "A#", "B "};

	const char *noteString;
	if (flats) {
		noteString = flatNotes[note];
	} else {
		noteString = sharpNotes[note];
	}
	/*  Null-terminated string is returned from the static char array */
	return noteString;
}

/*
 * This function converts a MIDI note to an octave number
 */
int noteToOct(uint8_t midinote)
{
	return (midinote / 12) - 2;
}

#if TODO_USING_MATH
/*
 * This function converts a MIDI note to a frequency
 * it can use a custom pitch for the A4 note.
 * TODO: implement in MCU friendly way....
 */
float noteToFreqCustomA4(uint8_t midinote, int base_a4_note_freq)
{
	return base_a4_note_freq * pow(2, (midinote - 69) / 12.0);
}
#endif

/**
 * In this case on my embedded system I don't want to run the
 * pow() match functions I use a precomputed lookup table.
 * A=440Hz is a given then.
 * TODO: possibly create multiple tables with some
 * TODO: variation in pitch of A4.  Flash size tradeoff.
 */
#include "midi_freq_table.h"
float noteToFreq(uint8_t midinote)
{
	return midi_freq_table[midinote];
}

#if TODO_USING_MATH
uint8_t freqToMidiNote(float freq)
{
	/* Fast inverse using log2f */
	float n = 69.0f + 12.0f * log2f(freq / BASE_A4_NOTE_FREQ);
	if (n < 0) {
		n = 0;
	}
	if (n > 127) {
		n = 127;
	}
	return (uint8_t)(n + 0.5f);
}
#endif

/**
 * @brief Convert a frequency value to the nearest MIDI note number.
 *
 * This function uses a binary search over the precomputed MIDI note
 * frequency table (0–127).
 *
 * @param freq  Input frequency in Hz
 * @return      MIDI note number (0–127) that best matches the frequency
 *
 * TODO update for MIDI 2.0 to include per note offsets.
 */
uint8_t freqToMidiNote(float freq)
{
	int min = 0;
	int max = 127;

	while (min <= max) {
		int mid = (min + max) / 2;

		if (freq > midi_freq_table[mid]) {
			min = mid + 1;
		} else if (freq < midi_freq_table[mid]) {
			max = mid - 1;
		} else {
			/* exact match */
			return mid;
		}
	}

	/*  min is now the first note with freq_table[min] > freq */
	if (min == 0) {
		return 0;
	}
	if (min > 127) {
		return 127;
	}

	/* pick closest of min and min-1 */
	float low = midi_freq_table[min - 1];
	float high = midi_freq_table[min];

	return (freq - low < high - freq) ? (min - 1) : min;
}

/* EOF */
```

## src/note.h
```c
/*
 * SPDX-License-Identifier: Apache-2.0
 */

/**
 * @file note.h
 *
 * @brief generic MIDI and harmony related functions
 * implemented in support of embedded systems in c.
 * tested on Zephyr RTOS.
 * TODO: update from C++ coding style back to C.
 * TODO: e.g. 'noteToText' should be renamed to 'note_to_text'
 *
 * @author Jan-Willem Smaal <usenet@gispen.org>
 * @updated 20241224
 */
#ifndef NOTE_H
#define NOTE_H
#include <stdio.h>
#include <stdint.h>
#include <stdbool.h>
#include <string.h>

/*
 * Pre computed values for the note frequencies
 */
#include "midi_freq_table.h"

/* 440 Hz for the A4 note */
#define BASE_A4_NOTE_FREQUENCY 440

/**
 * @brief converts a MIDI note using a lookup table to a string
 *
 * @param @midinote in MIDI format (limited to 0 -> 127)
 * @param flats represent not in flats or sharps (default)
 * @return char note in text format e.g. Db
 */
const char *noteToText(uint8_t midinote, bool flats);

/**
 * @brief convert note to text with octave
 * @param midinote in MIDI format (limited to 0 -> 127)
 * @return char note in text format e.g. Db3
 */
const char *noteToTextWithOctave(uint8_t midinote, bool flats);

/**
 * @brief note to octave
 * @param midinote in MIDI format (limited to 0 -> 127)
 * @return octave e.g. -3 or 4
 */
int noteToOct(uint8_t midinote);

#if TODO_USING_MATH
float noteToFreq(uint8_t midinote, int base_a4_note_freq);
#endif

/**
 * @brief converts note to frequency using lookup table
 * @param midinote in MIDI format (limited to 0 -> 127)
 * @return frequency referenceded to A440
 */
float noteToFreq(uint8_t midinote);

/**
 * @brief converts frequency to MIDI note approximate
 * @param frequency referenceded to A440
 * @return midinote in MIDI format (limited to 0 -> 127)
 */
uint8_t freqToMidiNote(float freq);

#endif /* NOTE_H */
/* EOF */
```

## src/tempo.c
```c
/*
 * SPDX-License-Identifier: Apache-2.0
 */

/**
 * @file tempo.c
 * @brief Modular Tempo Controller implementation (Digital Encoder).
 *
 * @author Jan-Willem Smaal <usenet@gispen.org>
 */

#include "tempo.h"
#include <zephyr/drivers/midi/midi1_clock_cntr.h>
#include <zephyr/logging/log.h>
#include <stdlib.h>

LOG_MODULE_DECLARE(midi1_arp_phase_app, LOG_LEVEL_INF);

int tempo_init(struct tempo_ctx *ctx, const struct device *clk_dev)
{
	ctx->midi_clock_dev = clk_dev;
	ctx->min_bpm = CONFIG_MIDI1_ARP_TEMPO_MINIMUM;
	ctx->max_bpm = CONFIG_MIDI1_ARP_TEMPO_MAXIMUM;

	/* Initial default BPM */
	ctx->current_bpm = CONFIG_MIDI1_ARP_TARGET_BPM;

	return 0;
}

void tempo_set_bpm(struct tempo_ctx *ctx, int32_t new_bpm)
{
	const struct midi1_clock_cntr_api *clk = ctx->midi_clock_dev->api;

	if (new_bpm < (int32_t)ctx->min_bpm) {
		new_bpm = ctx->min_bpm;
	}
	if (new_bpm > (int32_t)ctx->max_bpm) {
		new_bpm = ctx->max_bpm;
	}

	ctx->current_bpm = new_bpm;

	/* Push update to hardware clock */
	clk->gen(ctx->midi_clock_dev, (uint16_t)ctx->current_bpm);
}
```
